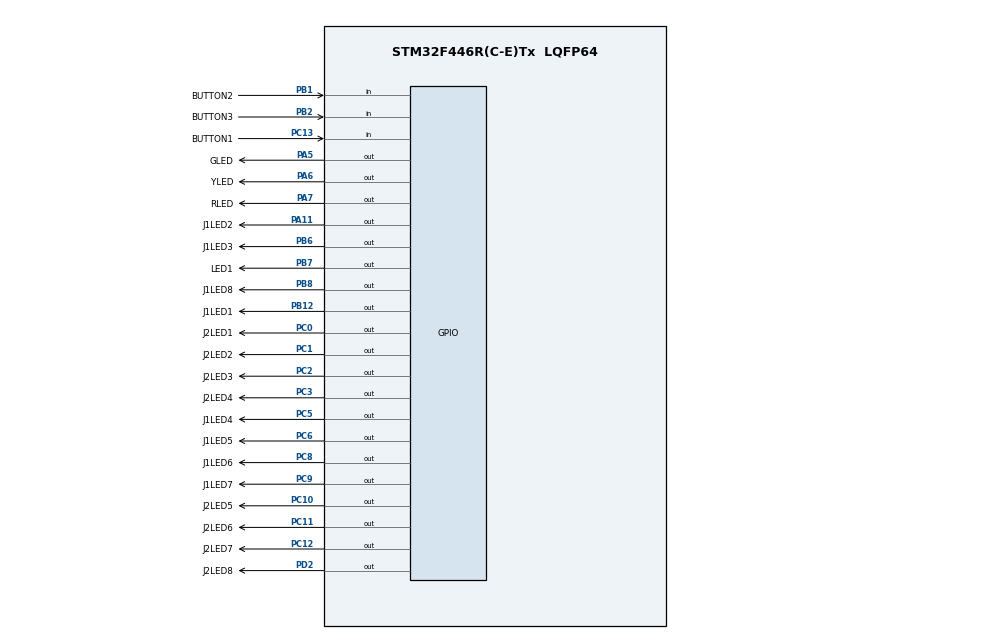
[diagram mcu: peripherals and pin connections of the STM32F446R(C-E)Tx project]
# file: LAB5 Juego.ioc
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Mcu.Family=STM32F4
Mcu.Name=STM32F446R(C-E)Tx
Mcu.Package=LQFP64
NVIC.PriorityGroup=NVIC_PRIORITYGROUP_4
PA11.GPIO_Label=J1LED2
PA11.Signal=GPIO_Output
PA5.GPIO_Label=GLED
PA5.Signal=GPIO_Output
PA6.GPIO_Label=YLED
PA6.Signal=GPIO_Output
PA7.GPIO_Label=RLED
PA7.Signal=GPIO_Output
PB1.GPIO_Label=BUTTON2
PB1.GPIO_PuPd=GPIO_PULLUP
PB1.Signal=GPIO_Input
PB12.GPIO_Label=J1LED1
PB12.Signal=GPIO_Output
PB2.GPIO_Label=BUTTON3
PB2.GPIO_PuPd=GPIO_PULLUP
PB2.Signal=GPIO_Input
PB6.GPIO_Label=J1LED3
PB6.Signal=GPIO_Output
PB7.GPIO_Label=LED1
PB7.Signal=GPIO_Output
PB8.GPIO_Label=J1LED8
PB8.Signal=GPIO_Output
PC0.GPIO_Label=J2LED1
PC0.Signal=GPIO_Output
PC1.GPIO_Label=J2LED2
PC1.Signal=GPIO_Output
PC10.GPIO_Label=J2LED5
PC10.Signal=GPIO_Output
PC11.GPIO_Label=J2LED6
PC11.Signal=GPIO_Output
PC12.GPIO_Label=J2LED7
PC12.Signal=GPIO_Output
PC13.GPIO_Label=BUTTON1
PC13.GPIO_PuPd=GPIO_NOPULL
PC13.Signal=GPIO_Input
PC2.GPIO_Label=J2LED3
PC2.Signal=GPIO_Output
PC3.GPIO_Label=J2LED4
PC3.Signal=GPIO_Output
PC5.GPIO_Label=J1LED4
PC5.Signal=GPIO_Output
PC6.GPIO_Label=J1LED5
PC6.Signal=GPIO_Output
PC8.GPIO_Label=J1LED6
PC8.Signal=GPIO_Output
PC9.GPIO_Label=J1LED7
PC9.Signal=GPIO_Output
PD2.GPIO_Label=J2LED8
PD2.Signal=GPIO_Output
ProjectManager.HeapSize=0x200
ProjectManager.StackSize=0x400
ProjectManager.TargetToolchain=STM32CubeIDE
RCC.CortexFreq_Value=16000000
RCC.USBFreq_Value=96000000
RCC.VCOOutputFreq_Value=192000000
board=custom

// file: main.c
/* USER CODE BEGIN Header */
/**
  ******************************************************************************
  * @file           : main.c
  * @brief          : Main program body
  ******************************************************************************
  * @attention
  *
  * Copyright (c) 2024 STMicroelectronics.
  * All rights reserved.
  *
  * This software is licensed under terms that can be found in the LICENSE file
  * in the root directory of this software component.
  * If no LICENSE file comes with this software, it is provided AS-IS.
  *
  ******************************************************************************
  */
/* USER CODE END Header */
#include "main.h"

/* USER CODE BEGIN PV */
uint8_t estado = 0;
uint8_t J1counter = 0;
uint8_t J2counter = 0;
/* USER CODE END PV */

void SystemClock_Config(void);
static void MX_GPIO_Init(void);

int main(void)
{

  /* MCU Configuration--------------------------------------------------------*/

  /* Reset of all peripherals, Initializes the Flash interface and the Systick. */
  HAL_Init();

  /* Configure the system clock */
  SystemClock_Config();

  /* Initialize all configured peripherals */
  MX_GPIO_Init();

  /* Infinite loop */
  /* USER CODE BEGIN WHILE */
  while (1)
  {

	  if (HAL_GPIO_ReadPin(BUTTON1_GPIO_Port, BUTTON1_Pin) == GPIO_PIN_RESET){
		  estado = 1;
		  HAL_GPIO_WritePin(J1LED1_GPIO_Port, J1LED1_Pin, GPIO_PIN_RESET);
		  HAL_GPIO_WritePin(J1LED2_GPIO_Port, J1LED2_Pin, GPIO_PIN_RESET);
		  HAL_GPIO_WritePin(J1LED3_GPIO_Port, J1LED3_Pin, GPIO_PIN_RESET);
		  HAL_GPIO_WritePin(J1LED4_GPIO_Port, J1LED4_Pin, GPIO_PIN_RESET);
		  HAL_GPIO_WritePin(J1LED5_GPIO_Port, J1LED5_Pin, GPIO_PIN_RESET);
		  HAL_GPIO_WritePin(J1LED6_GPIO_Port, J1LED6_Pin, GPIO_PIN_RESET);
		  HAL_GPIO_WritePin(J1LED7_GPIO_Port, J1LED7_Pin, GPIO_PIN_RESET);
		  HAL_GPIO_WritePin(J1LED8_GPIO_Port, J1LED8_Pin, GPIO_PIN_RESET);
		  HAL_GPIO_WritePin(J2LED1_GPIO_Port, J2LED1_Pin, GPIO_PIN_RESET);
		  HAL_GPIO_WritePin(J2LED2_GPIO_Port, J2LED2_Pin, GPIO_PIN_RESET);
		  HAL_GPIO_WritePin(J2LED3_GPIO_Port, J2LED3_Pin, GPIO_PIN_RESET);
		  HAL_GPIO_WritePin(J2LED4_GPIO_Port, J2LED4_Pin, GPIO_PIN_RESET);
		  HAL_GPIO_WritePin(J2LED5_GPIO_Port, J2LED5_Pin, GPIO_PIN_RESET);
		  HAL_GPIO_WritePin(J2LED6_GPIO_Port, J2LED6_Pin, GPIO_PIN_RESET);
		  HAL_GPIO_WritePin(J2LED7_GPIO_Port, J2LED7_Pin, GPIO_PIN_RESET);
		  HAL_GPIO_WritePin(J2LED8_GPIO_Port, J2LED8_Pin, GPIO_PIN_RESET);
	  }

	  if (estado == 1){
		  J1counter = 0;
		  J2counter = 0;
		  HAL_GPIO_WritePin(RLED_GPIO_Port, RLED_Pin, GPIO_PIN_SET);
		  HAL_GPIO_WritePin(YLED_GPIO_Port, YLED_Pin, GPIO_PIN_RESET);
		  HAL_GPIO_WritePin(GLED_GPIO_Port, GLED_Pin, GPIO_PIN_RESET);
		  HAL_Delay(800);
		  HAL_GPIO_WritePin(RLED_GPIO_Port, RLED_Pin, GPIO_PIN_RESET);
		  HAL_GPIO_WritePin(YLED_GPIO_Port, YLED_Pin, GPIO_PIN_SET);
		  HAL_GPIO_WritePin(GLED_GPIO_Port, GLED_Pin, GPIO_PIN_RESET);
		  HAL_Delay(800);
		  HAL_GPIO_WritePin(RLED_GPIO_Port, RLED_Pin, GPIO_PIN_RESET);
		  HAL_GPIO_WritePin(YLED_GPIO_Port, YLED_Pin, GPIO_PIN_RESET);
		  HAL_GPIO_WritePin(GLED_GPIO_Port, GLED_Pin, GPIO_PIN_SET);
		  HAL_Delay(800);
		  estado = 2;
	  }

	  if (estado == 2){
		  if (HAL_GPIO_ReadPin(BUTTON2_GPIO_Port, BUTTON2_Pin) == GPIO_PIN_RESET){
			  HAL_Delay(200);
			  J1counter++;
			  if (J1counter == 0){
				  HAL_GPIO_WritePin(J1LED1_GPIO_Port, J1LED1_Pin, GPIO_PIN_RESET);
			  }
			  else if (J1counter == 1){
				  HAL_GPIO_WritePin(J1LED1_GPIO_Port, J1LED1_Pin, GPIO_PIN_SET);
			  }
			  else if (J1counter == 2){
				  HAL_GPIO_WritePin(J1LED1_GPIO_Port, J1LED1_Pin, GPIO_PIN_RESET);
				  HAL_GPIO_WritePin(J1LED2_GPIO_Port, J1LED2_Pin, GPIO_PIN_SET);
			  }
			  else if (J1counter == 3){
				  HAL_GPIO_WritePin(J1LED2_GPIO_Port, J1LED2_Pin, GPIO_PIN_RESET);
				  HAL_GPIO_WritePin(J1LED3_GPIO_Port, J1LED3_Pin, GPIO_PIN_SET);
			  }
			  else if (J1counter == 4){
				  HAL_GPIO_WritePin(J1LED3_GPIO_Port, J1LED3_Pin, GPIO_PIN_RESET);
				  HAL_GPIO_WritePin(J1LED4_GPIO_Port, J1LED4_Pin, GPIO_PIN_SET);
			  }
			  else if (J1counter == 5){
				  HAL_GPIO_WritePin(J1LED4_GPIO_Port, J1LED4_Pin, GPIO_PIN_RESET);
				  HAL_GPIO_WritePin(J1LED5_GPIO_Port, J1LED5_Pin, GPIO_PIN_SET);
			  }
			  else if (J1counter == 6){
				  HAL_GPIO_WritePin(J1LED5_GPIO_Port, J1LED5_Pin, GPIO_PIN_RESET);
				  HAL_GPIO_WritePin(J1LED6_GPIO_Port, J1LED6_Pin, GPIO_PIN_SET);
			  }
			  else if (J1counter == 7){
				  HAL_GPIO_WritePin(J1LED6_GPIO_Port, J1LED6_Pin, GPIO_PIN_RESET);
				  HAL_GPIO_WritePin(J1LED7_GPIO_Port, J1LED7_Pin, GPIO_PIN_SET);
			  }
			  else if (J1counter == 8){
				  HAL_GPIO_WritePin(J1LED7_GPIO_Port, J1LED7_Pin, GPIO_PIN_RESET);
				  HAL_GPIO_WritePin(J1LED8_GPIO_Port, J1LED8_Pin, GPIO_PIN_SET);
			  }
			  else if (J1counter == 9){
				  HAL_GPIO_WritePin(J1LED1_GPIO_Port, J1LED1_Pin, GPIO_PIN_SET);
				  HAL_GPIO_WritePin(J1LED2_GPIO_Port, J1LED2_Pin, GPIO_PIN_SET);
				  HAL_GPIO_WritePin(J1LED3_GPIO_Port, J1LED3_Pin, GPIO_PIN_SET);
				  HAL_GPIO_WritePin(J1LED4_GPIO_Port, J1LED4_Pin, GPIO_PIN_SET);
				  HAL_GPIO_WritePin(J1LED5_GPIO_Port, J1LED5_Pin, GPIO_PIN_SET);
				  HAL_GPIO_WritePin(J1LED6_GPIO_Port, J1LED6_Pin, GPIO_PIN_SET);
				  HAL_GPIO_WritePin(J1LED7_GPIO_Port, J1LED7_Pin, GPIO_PIN_SET);
				  HAL_GPIO_WritePin(J1LED8_GPIO_Port, J1LED8_Pin, GPIO_PIN_SET);
				  estado = 0;
			  }
		  	  }
		  if (HAL_GPIO_ReadPin(BUTTON3_GPIO_Port, BUTTON3_Pin) == GPIO_PIN_RESET){
			  HAL_Delay(200);
			  J2counter++;
			  if (J2counter == 0){
				  HAL_GPIO_WritePin(J2LED1_GPIO_Port, J2LED1_Pin, GPIO_PIN_RESET);
			  }
			  else if (J2counter == 1){
				  HAL_GPIO_WritePin(J2LED1_GPIO_Port, J2LED1_Pin, GPIO_PIN_SET);
			  }
			  else if (J2counter == 2){
				  HAL_GPIO_WritePin(J2LED1_GPIO_Port, J2LED1_Pin, GPIO_PIN_RESET);
				  HAL_GPIO_WritePin(J2LED2_GPIO_Port, J2LED2_Pin, GPIO_PIN_SET);
			  }
			  else if (J2counter == 3){
				  HAL_GPIO_WritePin(J2LED2_GPIO_Port, J2LED2_Pin, GPIO_PIN_RESET);
				  HAL_GPIO_WritePin(J2LED3_GPIO_Port, J2LED3_Pin, GPIO_PIN_SET);
			  }
			  else if (J2counter == 4){
				  HAL_GPIO_WritePin(J2LED3_GPIO_Port, J2LED3_Pin, GPIO_PIN_RESET);
				  HAL_GPIO_WritePin(J2LED4_GPIO_Port, J2LED4_Pin, GPIO_PIN_SET);
			  }
			  else if (J2counter == 5){
				  HAL_GPIO_WritePin(J2LED4_GPIO_Port, J2LED4_Pin, GPIO_PIN_RESET);
				  HAL_GPIO_WritePin(J2LED5_GPIO_Port, J2LED5_Pin, GPIO_PIN_SET);
			  }
			  else if (J2counter == 6){
				  HAL_GPIO_WritePin(J2LED5_GPIO_Port, J2LED5_Pin, GPIO_PIN_RESET);
				  HAL_GPIO_WritePin(J2LED6_GPIO_Port, J2LED6_Pin, GPIO_PIN_SET);
			  }
			  else if (J2counter == 7){
				  HAL_GPIO_WritePin(J2LED6_GPIO_Port, J2LED6_Pin, GPIO_PIN_RESET);
				  HAL_GPIO_WritePin(J2LED7_GPIO_Port, J2LED7_Pin, GPIO_PIN_SET);
			  }
			  else if (J2counter == 8){
				  HAL_GPIO_WritePin(J2LED7_GPIO_Port, J2LED7_Pin, GPIO_PIN_RESET);
				  HAL_GPIO_WritePin(J2LED8_GPIO_Port, J2LED8_Pin, GPIO_PIN_SET);
			  }
			  else if (J2counter == 9){
				  HAL_GPIO_WritePin(J2LED1_GPIO_Port, J2LED1_Pin, GPIO_PIN_SET);
				  HAL_GPIO_WritePin(J2LED2_GPIO_Port, J2LED2_Pin, GPIO_PIN_SET);
				  HAL_GPIO_WritePin(J2LED3_GPIO_Port, J2LED3_Pin, GPIO_PIN_SET);
				  HAL_GPIO_WritePin(J2LED4_GPIO_Port, J2LED4_Pin, GPIO_PIN_SET);
				  HAL_GPIO_WritePin(J2LED5_GPIO_Port, J2LED5_Pin, GPIO_PIN_SET);
				  HAL_GPIO_WritePin(J2LED6_GPIO_Port, J2LED6_Pin, GPIO_PIN_SET);
				  HAL_GPIO_WritePin(J2LED7_GPIO_Port, J2LED7_Pin, GPIO_PIN_SET);
				  HAL_GPIO_WritePin(J2LED8_GPIO_Port, J2LED8_Pin, GPIO_PIN_SET);
				  estado = 0;
			  }
		  }

	  }
    /* USER CODE END WHILE */

  }
}

void SystemClock_Config(void)
{
  RCC_OscInitTypeDef RCC_OscInitStruct = {0};
  RCC_ClkInitTypeDef RCC_ClkInitStruct = {0};

  /** Configure the main internal regulator output voltage
  */
  __HAL_RCC_PWR_CLK_ENABLE();
  __HAL_PWR_VOLTAGESCALING_CONFIG(PWR_REGULATOR_VOLTAGE_SCALE3);

  /** Initializes the RCC Oscillators according to the specified parameters
  * in the RCC_OscInitTypeDef structure.
  */
  RCC_OscInitStruct.OscillatorType = RCC_OSCILLATORTYPE_HSI;
  RCC_OscInitStruct.HSIState = RCC_HSI_ON;
  RCC_OscInitStruct.HSICalibrationValue = RCC_HSICALIBRATION_DEFAULT;
  RCC_OscInitStruct.PLL.PLLState = RCC_PLL_NONE;
  if (HAL_RCC_OscConfig(&RCC_OscInitStruct) != HAL_OK)
  {
    Error_Handler();
  }

  /** Initializes the CPU, AHB and APB buses clocks
  */
  RCC_ClkInitStruct.ClockType = RCC_CLOCKTYPE_HCLK|RCC_CLOCKTYPE_SYSCLK
                              |RCC_CLOCKTYPE_PCLK1|RCC_CLOCKTYPE_PCLK2;
  RCC_ClkInitStruct.SYSCLKSource = RCC_SYSCLKSOURCE_HSI;
  RCC_ClkInitStruct.AHBCLKDivider = RCC_SYSCLK_DIV1;
  RCC_ClkInitStruct.APB1CLKDivider = RCC_HCLK_DIV1;
  RCC_ClkInitStruct.APB2CLKDivider = RCC_HCLK_DIV1;

  if (HAL_RCC_ClockConfig(&RCC_ClkInitStruct, FLASH_LATENCY_0) != HAL_OK)
  {
    Error_Handler();
  }
}

static void MX_GPIO_Init(void)
{
  GPIO_InitTypeDef GPIO_InitStruct = {0};

  /* GPIO Ports Clock Enable */
  __HAL_RCC_GPIOC_CLK_ENABLE();
  __HAL_RCC_GPIOA_CLK_ENABLE();
  __HAL_RCC_GPIOB_CLK_ENABLE();
  __HAL_RCC_GPIOD_CLK_ENABLE();

  /*Configure GPIO pin Output Level */
  HAL_GPIO_WritePin(GPIOC, J2LED1_Pin|J2LED2_Pin|J2LED3_Pin|J2LED4_Pin
                          |J1LED4_Pin|J1LED5_Pin|J1LED6_Pin|J1LED7_Pin
                          |J2LED5_Pin|J2LED6_Pin|J2LED7_Pin, GPIO_PIN_RESET);

  /*Configure GPIO pin Output Level */
  HAL_GPIO_WritePin(GPIOA, GLED_Pin|YLED_Pin|RLED_Pin|J1LED2_Pin, GPIO_PIN_RESET);

  /*Configure GPIO pin Output Level */
  HAL_GPIO_WritePin(GPIOB, J1LED1_Pin|J1LED3_Pin|LED1_Pin|J1LED8_Pin, GPIO_PIN_RESET);

  /*Configure GPIO pin Output Level */
  HAL_GPIO_WritePin(J2LED8_GPIO_Port, J2LED8_Pin, GPIO_PIN_RESET);

  /*Configure GPIO pin : BUTTON1_Pin */
  GPIO_InitStruct.Pin = BUTTON1_Pin;
  GPIO_InitStruct.Mode = GPIO_MODE_INPUT;
  GPIO_InitStruct.Pull = GPIO_NOPULL;
  HAL_GPIO_Init(BUTTON1_GPIO_Port, &GPIO_InitStruct);

  /*Configure GPIO pins : J2LED1_Pin J2LED2_Pin J2LED3_Pin J2LED4_Pin
                           J1LED4_Pin J1LED5_Pin J1LED6_Pin J1LED7_Pin
                           J2LED5_Pin J2LED6_Pin J2LED7_Pin */
  GPIO_InitStruct.Pin = J2LED1_Pin|J2LED2_Pin|J2LED3_Pin|J2LED4_Pin
                          |J1LED4_Pin|J1LED5_Pin|J1LED6_Pin|J1LED7_Pin
                          |J2LED5_Pin|J2LED6_Pin|J2LED7_Pin;
  GPIO_InitStruct.Mode = GPIO_MODE_OUTPUT_PP;
  GPIO_InitStruct.Pull = GPIO_NOPULL;
  GPIO_InitStruct.Speed = GPIO_SPEED_FREQ_LOW;
  HAL_GPIO_Init(GPIOC, &GPIO_InitStruct);

  /*Configure GPIO pins : GLED_Pin YLED_Pin RLED_Pin J1LED2_Pin */
  GPIO_InitStruct.Pin = GLED_Pin|YLED_Pin|RLED_Pin|J1LED2_Pin;
  GPIO_InitStruct.Mode = GPIO_MODE_OUTPUT_PP;
  GPIO_InitStruct.Pull = GPIO_NOPULL;
  GPIO_InitStruct.Speed = GPIO_SPEED_FREQ_LOW;
  HAL_GPIO_Init(GPIOA, &GPIO_InitStruct);

  /*Configure GPIO pins : BUTTON2_Pin BUTTON3_Pin */
  GPIO_InitStruct.Pin = BUTTON2_Pin|BUTTON3_Pin;
  GPIO_InitStruct.Mode = GPIO_MODE_INPUT;
  GPIO_InitStruct.Pull = GPIO_PULLUP;
  HAL_GPIO_Init(GPIOB, &GPIO_InitStruct);

  /*Configure GPIO pins : J1LED1_Pin J1LED3_Pin LED1_Pin J1LED8_Pin */
  GPIO_InitStruct.Pin = J1LED1_Pin|J1LED3_Pin|LED1_Pin|J1LED8_Pin;
  GPIO_InitStruct.Mode = GPIO_MODE_OUTPUT_PP;
  GPIO_InitStruct.Pull = GPIO_NOPULL;
  GPIO_InitStruct.Speed = GPIO_SPEED_FREQ_LOW;
  HAL_GPIO_Init(GPIOB, &GPIO_InitStruct);

  /*Configure GPIO pin : J2LED8_Pin */
  GPIO_InitStruct.Pin = J2LED8_Pin;
  GPIO_InitStruct.Mode = GPIO_MODE_OUTPUT_PP;
  GPIO_InitStruct.Pull = GPIO_NOPULL;
  GPIO_InitStruct.Speed = GPIO_SPEED_FREQ_LOW;
  HAL_GPIO_Init(J2LED8_GPIO_Port, &GPIO_InitStruct);

}

void Error_Handler(void)
{
  __disable_irq();
  while (1)
  {
  }
}
